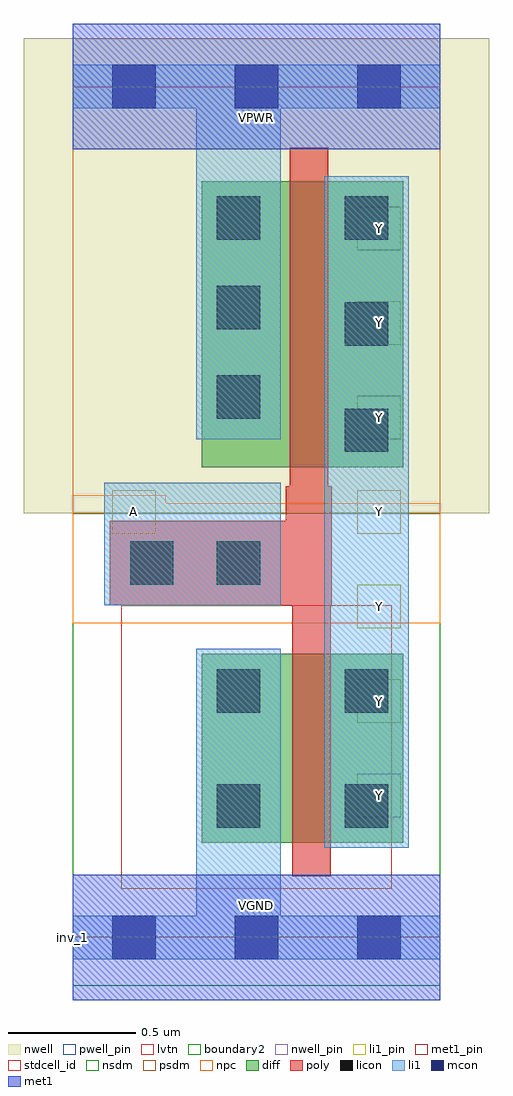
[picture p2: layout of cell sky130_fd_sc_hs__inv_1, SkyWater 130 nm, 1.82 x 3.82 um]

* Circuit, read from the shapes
.subckt sky130_fd_sc_hs__inv_1 A VGND VNB VPB VPWR Y
XM1 Y A VGND VNB sky130_fd_pr__nfet_01v8_lvt w=0.74 l=0.15
XM2 Y A VPWR VPB sky130_fd_pr__pfet_01v8 w=1.12 l=0.15
.ends

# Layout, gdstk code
import gdstk
lib = gdstk.Library(unit=1e-6, precision=1e-09)
def R(c, l, rs):  # rectangles x0, y0, x1, y1
    for r in rs: c.add(gdstk.rectangle(r[:2], r[2:], *l))
def A(c, l, x, y, w, h, nx, ny, dx, dy):  # array of equal rectangles
    R(c, l, [(x+i*dx, y+j*dy, x+i*dx+w, y+j*dy+h) for i in range(nx) for j in range(ny)])
def P(c, l, *ps):  # polygons
    for p in ps: c.add(gdstk.Polygon(p, *l))
nwell_pin = (64, 16)
nwell = (64, 20)
diff = (65, 20)
poly = (66, 20)
licon = (66, 44)
li1_pin = (67, 16)
li1 = (67, 20)
mcon = (67, 44)
met1_pin = (68, 16)
met1 = (68, 20)
stdcell_id = (81, 4)
nsdm = (93, 44)
psdm = (94, 20)
npc = (95, 20)
pwell_pin = (122, 16)
lvtn = (125, 44)
boundary2 = (236, 0)

sky130_fd_sc_hs__inv_1 = lib.new_cell('sky130_fd_sc_hs__inv_1')
R(sky130_fd_sc_hs__inv_1, nwell_pin, [(0,3.085,1.44,3.33)])
R(sky130_fd_sc_hs__inv_1, nwell, [(-0.19,1.66,1.63,3.52)])
R(sky130_fd_sc_hs__inv_1, diff, [(0.505,0.37,1.295,1.11), (0.505,1.84,1.295,2.96)])
P(sky130_fd_sc_hs__inv_1, poly, [(0.86,0.24),(0.86,1.3),(0.145,1.3),(0.145,1.63),(0.835,1.63),(0.835,1.765),(0.85,1.765),(0.85,3.09),(1,3.09),(1,1.765),(1.015,1.765),(1.015,1.3),(1.01,1.3),(1.01,0.24)])
A(sky130_fd_sc_hs__inv_1, licon, 1.065, 1.9, 0.17, 0.17, 1, 3, 0, 0.415)
A(sky130_fd_sc_hs__inv_1, licon, 0.565, 2.03, 0.17, 0.17, 1, 3, 0, 0.35)
R(sky130_fd_sc_hs__inv_1, licon, [(0.565,0.43,0.735,0.6), (1.065,0.43,1.235,0.6), (0.565,0.88,0.735,1.05), (1.065,0.88,1.235,1.05), (0.225,1.38,0.395,1.55), (0.565,1.38,0.735,1.55)])
A(sky130_fd_sc_hs__inv_1, li1_pin, 1.115, 0.47, 0.17, 0.17, 1, 7, 0, 0.37)
R(sky130_fd_sc_hs__inv_1, li1_pin, [(0.155,1.58,0.325,1.75)])
R(sky130_fd_sc_hs__inv_1, li1, [(0.985,0.35,1.315,2.98), (0.125,1.3,0.815,1.78)])
P(sky130_fd_sc_hs__inv_1, li1, [(0,-0.085),(0,0.085),(0.485,0.085),(0.485,1.13),(0.815,1.13),(0.815,0.085),(1.44,0.085),(1.44,-0.085)],
  [(0.485,1.95),(0.485,3.245),(0,3.245),(0,3.415),(1.44,3.415),(1.44,3.245),(0.815,3.245),(0.815,1.95)])
A(sky130_fd_sc_hs__inv_1, mcon, 0.155, -0.085, 0.17, 0.17, 3, 2, 0.48, 3.33)
R(sky130_fd_sc_hs__inv_1, met1_pin, [(0,0,1.44,0.245), (0,3.085,1.44,3.33)])
R(sky130_fd_sc_hs__inv_1, met1, [(0,-0.245,1.44,0.245), (0,3.085,1.44,3.575)])
R(sky130_fd_sc_hs__inv_1, stdcell_id, [(0,0,1.44,3.33)])
R(sky130_fd_sc_hs__inv_1, nsdm, [(0,-0.19,1.44,1.66)])
R(sky130_fd_sc_hs__inv_1, psdm, [(0,1.66,1.44,3.52)])
P(sky130_fd_sc_hs__inv_1, npc, [(0,1.23),(0,1.73),(0.365,1.73),(0.365,1.7),(1.44,1.7),(1.44,1.23)])
R(sky130_fd_sc_hs__inv_1, pwell_pin, [(0,0,1.44,0.245)])
R(sky130_fd_sc_hs__inv_1, lvtn, [(0.19,0.19,1.25,1.3)])
R(sky130_fd_sc_hs__inv_1, boundary2, [(0,0,1.44,3.33)])
sky130_fd_sc_hs__inv_1.add(gdstk.Label('inv_1', (0,0), layer=83, texttype=44))
sky130_fd_sc_hs__inv_1.add(gdstk.Label('VPWR', (0.72,3.208), layer=68, texttype=5))
sky130_fd_sc_hs__inv_1.add(gdstk.Label('VGND', (0.72,0.123), layer=68, texttype=5))
sky130_fd_sc_hs__inv_1.add(gdstk.Label('VNB', (0.72,0.123), layer=64, texttype=59))
sky130_fd_sc_hs__inv_1.add(gdstk.Label('VPB', (0.72,3.208), layer=64, texttype=5))
sky130_fd_sc_hs__inv_1.add(gdstk.Label('Y', (1.2,0.555), layer=67, texttype=5))
sky130_fd_sc_hs__inv_1.add(gdstk.Label('Y', (1.2,0.925), layer=67, texttype=5))
sky130_fd_sc_hs__inv_1.add(gdstk.Label('Y', (1.2,1.295), layer=67, texttype=5))
sky130_fd_sc_hs__inv_1.add(gdstk.Label('Y', (1.2,1.665), layer=67, texttype=5))
sky130_fd_sc_hs__inv_1.add(gdstk.Label('Y', (1.2,2.035), layer=67, texttype=5))
sky130_fd_sc_hs__inv_1.add(gdstk.Label('Y', (1.2,2.405), layer=67, texttype=5))
sky130_fd_sc_hs__inv_1.add(gdstk.Label('Y', (1.2,2.775), layer=67, texttype=5))
sky130_fd_sc_hs__inv_1.add(gdstk.Label('A', (0.24,1.665), layer=67, texttype=5))

lib.write_gds('sky130_fd_sc_hs__inv_1.gds')
